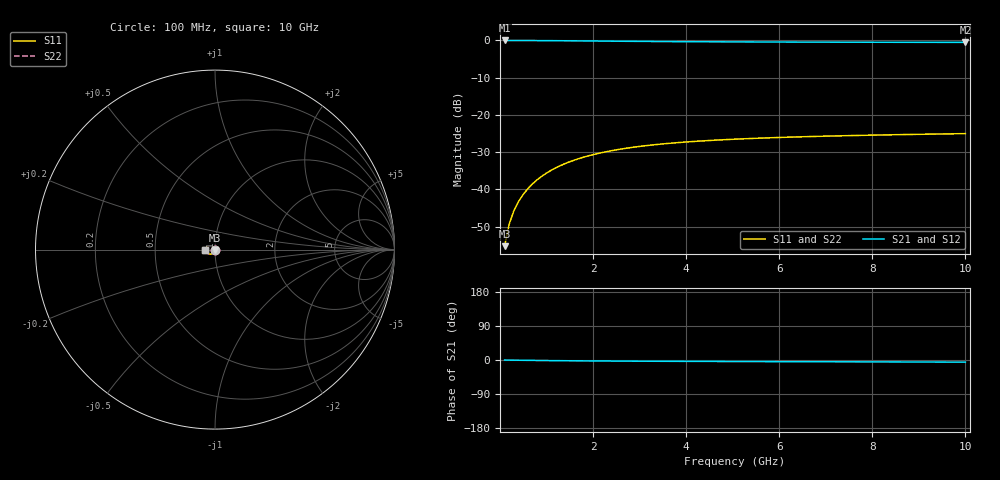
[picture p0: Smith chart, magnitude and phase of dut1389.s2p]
! Touchstone file exported from HFSS 2024.1.0
!  File:  C:/UserFiles/LocalFiles/RDL_TSV_Batchsim/temp_TSV1_1389_1780381047.aedt
!  Generated:  02:25:15 PM Jun  2, 2026
!  Design:  TSV1
!  Project:  temp_TSV1_1389_1780381047
!  Setup:  Setup1
!  Solution:  Sweep
! Variables:
!  dtsv = 13.34um
!  hbump = 3um
!  htsv = 86.78um
!  lrdl = 252.1521522um
!  p = 40
!  p1 = 59.56um
!  t = 500um
!  trdl = 3um
!  wrdl = 24.89489489um
# GHz S MA R 50.000000
! Terminal data exported
! Port[1] = TSV22_T1
! Port[2] = TSV22_T2
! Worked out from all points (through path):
!   100 points, 100 MHz to 10 GHz, reference 50 ohm
!   highest |S21| = 0.00 dB at 100 MHz (marker M1); lowest = -0.5 dB at 10 GHz (marker M2)
!   lowest |S11| = -55.3 dB at 100 MHz (marker M3), VSWR 1.00, Z = 50 - j0.173 ohm
!   |S11| at or under -10 dB: start of sweep to end of sweep
!   |S22| runs from -55.3 to -25.0 dB; largest |S21 - S12| = 8e-15
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0.1  0.001727 -89.0  0.9998 -0.2  0.9998 -0.2  0.001727 -89.0
! Gamma 0 0 0 0
! Port Impedance 50 0 50 0
0.2  0.003449 -92.4  0.9996 -0.3  0.9996 -0.3  0.003449 -92.4
0.3  0.005168 -94.8  0.9993 -0.5  0.9993 -0.5  0.005168 -94.8
0.4  0.006876 -97.0  0.9989 -0.6  0.9989 -0.6  0.006876 -97.0
0.5  0.008565 -99.2  0.9984 -0.8  0.9984 -0.8  0.008565 -99.2
0.6  0.01023 -101.2  0.9977 -0.9  0.9977 -0.9  0.01023 -101.2
0.7  0.01186 -103.3  0.997 -1.1  0.997 -1.1  0.01186 -103.3
0.8  0.01347 -105.3  0.9962 -1.2  0.9962 -1.2  0.01347 -105.3
0.9  0.01503 -107.2  0.9953 -1.3  0.9953 -1.3  0.01503 -107.2
1.1  0.01803 -111.0  0.9933 -1.6  0.9933 -1.6  0.01803 -111.0
1.4  0.0222 -116.3  0.99 -1.9  0.99 -1.9  0.0222 -116.3
1.6  0.02474 -119.7  0.9877 -2.1  0.9877 -2.1  0.02474 -119.7
1.8  0.0271 -122.8  0.9853 -2.3  0.9853 -2.3  0.0271 -122.8
2.1  0.03029 -127.3  0.9817 -2.6  0.9817 -2.6  0.03029 -127.3
2.5  0.03396 -132.7  0.9771 -2.9  0.9771 -2.9  0.03396 -132.7
2.9  0.03704 -137.5  0.9728 -3.1  0.9728 -3.1  0.03704 -137.5
3.4  0.04023 -142.8  0.9681 -3.3  0.9681 -3.3  0.04023 -142.8
4.2  0.04414 -150.1  0.9618 -3.7  0.9618 -3.7  0.04414 -150.1
5.1  0.04737 -156.8  0.9564 -4.0  0.9564 -4.0  0.04737 -156.8
6.7  0.05127 -166.3  0.9498 -4.5  0.9498 -4.5  0.05127 -166.3
8.4  0.05407 -174.2  0.9453 -5.1  0.9453 -5.1  0.05407 -174.2
10  0.05606 179.6  0.9424 -5.6  0.9424 -5.6  0.05606 179.6
